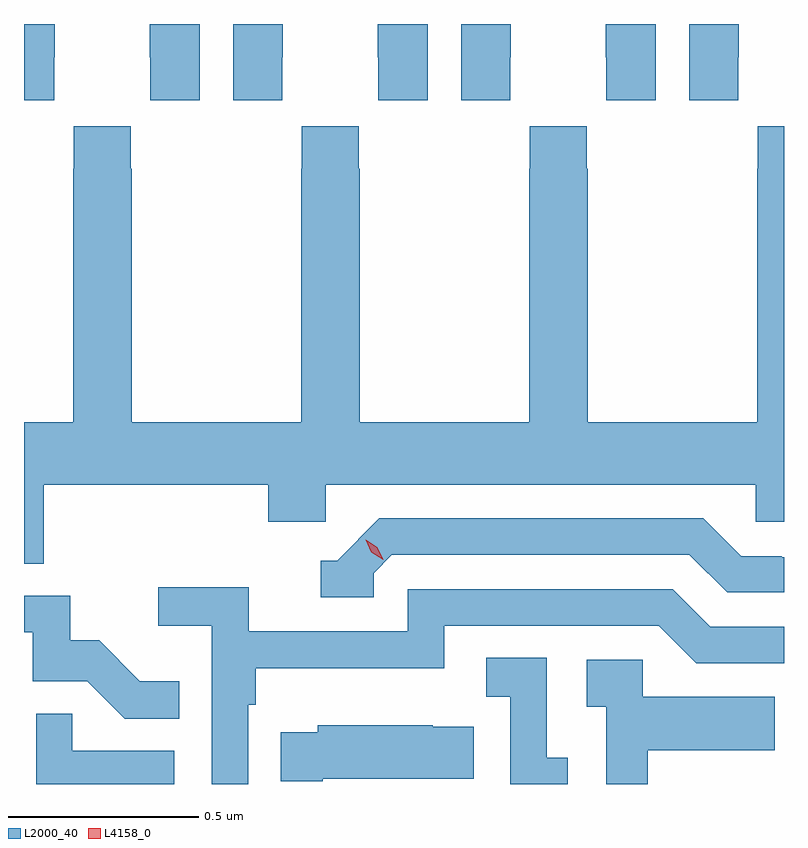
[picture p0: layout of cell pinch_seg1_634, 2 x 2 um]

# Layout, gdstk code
import gdstk
lib = gdstk.Library(unit=1e-6, precision=1e-09)
def P(c, l, *ps):  # polygons
    for p in ps: c.add(gdstk.Polygon(p, *l))
L2000_40 = (2000, 40)
L4158_0 = (4158, 0)

pinch_seg1_634 = lib.new_cell('pinch_seg1_634')
P(pinch_seg1_634, L2000_40, [(1128.16,523.64),(1128.029,523.64),(1128.029,523.552),(1128.03,523.552),(1128.03,523.44),(1128.16,523.44)],
  [(1128.378,523.552),(1128.379,523.552),(1128.379,523.64),(1128.248,523.64),(1128.248,523.44),(1128.378,523.44)],
  [(1128.76,523.64),(1128.629,523.64),(1128.629,523.552),(1128.63,523.552),(1128.63,523.44),(1128.76,523.44)],
  [(1128.978,523.552),(1128.979,523.552),(1128.979,523.64),(1128.848,523.64),(1128.848,523.44),(1128.978,523.44)],
  [(1129.36,523.64),(1129.229,523.64),(1129.229,523.552),(1129.23,523.552),(1129.23,523.44),(1129.36,523.44)],
  [(1129.578,523.552),(1129.579,523.552),(1129.579,523.64),(1129.448,523.64),(1129.448,523.44),(1129.578,523.44)],
  [(1127.778,523.552),(1127.779,523.552),(1127.779,523.64),(1127.698,523.64),(1127.698,523.44),(1127.778,523.44)],
  [(1127.75,522.428),(1128.341,522.428),(1128.341,522.33),(1128.492,522.33),(1128.492,522.428),(1129.623,522.428),(1129.623,522.33),(1129.698,522.33),(1129.698,523.371),(1129.629,523.371),(1129.629,523.259),(1129.627,523.259),(1129.627,522.592),(1129.182,522.592),(1129.182,523.259),(1129.179,523.259),(1129.179,523.371),(1129.029,523.371),(1129.029,523.259),(1129.027,523.259),(1129.027,522.592),(1128.582,522.592),(1128.582,523.259),(1128.579,523.259),(1128.579,523.371),(1128.429,523.371),(1128.429,523.259),(1128.427,523.259),(1128.427,522.592),(1127.982,522.592),(1127.982,523.259),(1127.979,523.259),(1127.979,523.371),(1127.829,523.371),(1127.829,523.259),(1127.827,523.259),(1127.827,522.592),(1127.698,522.592),(1127.698,522.22),(1127.75,522.22)],
  [(1128.618,522.195),(1128.666,522.243),(1129.449,522.243),(1129.548,522.144),(1129.698,522.144),(1129.698,522.237),(1129.692,522.237),(1129.692,522.24),(1129.585,522.24),(1129.486,522.339),(1128.633,522.339),(1128.522,522.228),(1128.479,522.228),(1128.479,522.132),(1128.618,522.132)],
  [(1128.288,521.849),(1128.308,521.849),(1128.308,521.945),(1128.804,521.945),(1128.804,522.057),(1129.368,522.057),(1129.467,521.958),(1129.698,521.958),(1129.698,522.054),(1129.504,522.054),(1129.405,522.153),(1128.708,522.153),(1128.708,522.042),(1128.29,522.042),(1128.29,522.158),(1128.051,522.158),(1128.051,522.056),(1128.192,522.056),(1128.192,521.64),(1128.288,521.64)],
  [(1128.107,521.911),(1128.003,521.911),(1127.896,522.018),(1127.82,522.018),(1127.82,522.135),(1127.698,522.135),(1127.698,522.039),(1127.721,522.039),(1127.721,521.91),(1127.865,521.91),(1127.963,521.812),(1128.107,521.812)],
  [(1129.129,521.709),(1129.074,521.709),(1129.074,521.972),(1128.915,521.972),(1128.915,521.869),(1128.978,521.869),(1128.978,521.64),(1129.129,521.64)],
  [(1129.339,521.729),(1129.673,521.729),(1129.673,521.869),(1129.326,521.869),(1129.326,521.967),(1129.179,521.967),(1129.179,521.843),(1129.23,521.843),(1129.23,521.64),(1129.339,521.64)],
  [(1128.094,521.727),(1127.825,521.727),(1127.825,521.825),(1127.73,521.825),(1127.73,521.64),(1128.094,521.64)],
  [(1128.484,521.654),(1128.881,521.654),(1128.881,521.791),(1128.773,521.791),(1128.773,521.794),(1128.471,521.794),(1128.471,521.776),(1128.373,521.776),(1128.373,521.647),(1128.484,521.647)])
P(pinch_seg1_634, L4158_0, [(1128.643,522.23),(1128.612,522.25),(1128.597,522.283),(1128.597,522.283),(1128.597,522.283),(1128.628,522.263),(1128.643,522.231),(1128.643,522.23)])

lib.write_gds('pinch_seg1_634.gds')
